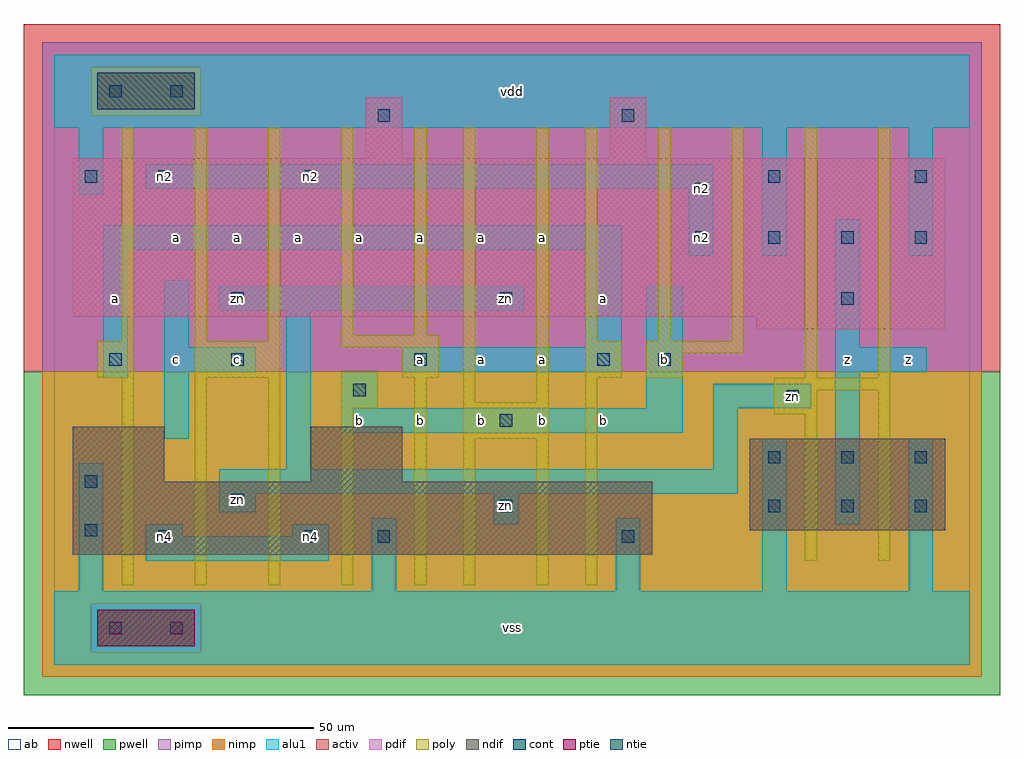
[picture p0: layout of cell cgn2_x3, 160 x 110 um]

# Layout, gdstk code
import gdstk
lib = gdstk.Library(unit=1e-6, precision=1e-09)
def R(c, l, rs):  # rectangles x0, y0, x1, y1
    for r in rs: c.add(gdstk.rectangle(r[:2], r[2:], *l))
def A(c, l, x, y, w, h, nx, ny, dx, dy):  # array of equal rectangles
    R(c, l, [(x+i*dx, y+j*dy, x+i*dx+w, y+j*dy+h) for i in range(nx) for j in range(ny)])
ndif = (3, 0)
pdif = (4, 0)
ntie = (5, 0)
ptie = (6, 0)
cont = (25, 0)
pwell = (41, 0)
nwell = (42, 0)
activ = (43, 0)
pimp = (44, 0)
nimp = (45, 0)
poly = (46, 0)
alu1 = (49, 0)
ab = (63, 0)

cgn2_x3 = lib.new_cell('cgn2_x3')
R(cgn2_x3, ndif, [(3,18,98,30), (114,22,146,37), (3,30,18,39), (42,30,57,39)])
R(cgn2_x3, pdif, [(115,55,146,57), (3,57,146,83), (51,83,57,93), (91,83,97,93)])
R(cgn2_x3, ntie, [(7,91,23,97)])
R(cgn2_x3, ptie, [(7,3,23,9)])
A(cgn2_x3, cont, 9, 5, 2, 2, 1, 3, 0, 44)
A(cgn2_x3, cont, 117, 25, 2, 2, 3, 2, 12, 8)
A(cgn2_x3, cont, 29, 49, 2, 2, 3, 1, 30, 0)
A(cgn2_x3, cont, 105, 69, 2, 2, 4, 1, 12, 0)
R(cgn2_x3, cont, [(19,5,21,7), (17,20,19,22), (41,20,43,22), (53,20,55,22), (93,20,95,22), (5,21,7,23), (73,25,75,27), (29,26,31,28), (5,29,7,31), (73,39,75,41), (120,43,122,45), (49,44,51,46), (99,49,101,51), (29,59,31,61), (73,59,75,61), (129,59,131,61), (105,77,107,79), (5,79,7,81), (17,79,19,81), (41,79,43,81), (117,79,119,81), (141,79,143,81), (53,89,55,91), (93,89,95,91), (19,93,21,95)])
R(cgn2_x3, pwell, [(-5,-5,155,48)])
R(cgn2_x3, nwell, [(-5,48,155,105)])
R(cgn2_x3, activ, [(7,3,23,9), (3,18,98,30), (114,22,146,37), (3,30,18,39), (42,30,57,39), (115,55,146,57), (3,57,146,83), (51,83,57,93), (91,83,97,93), (7,91,23,97)])
R(cgn2_x3, pimp, [(6,2,24,10), (-2,48,152,90), (-2,90,6,98), (24,90,152,98), (-2,98,152,102)])
R(cgn2_x3, nimp, [(-2,-2,152,2), (-2,2,6,10), (24,2,152,10), (-2,10,152,48), (6,90,24,98)])
A(cgn2_x3, poly, 11, 13, 2, 34, 3, 1, 12, 0)
A(cgn2_x3, poly, 11, 53, 2, 35, 3, 1, 12, 0)
A(cgn2_x3, poly, 87, 53, 2, 35, 3, 1, 12, 0)
R(cgn2_x3, poly, [(47,13,49,42), (59,13,61,47), (67,13,69,37), (79,13,81,37), (87,13,89,47), (123,17,125,41), (135,17,137,45), (67,37,81,43), (118,41,125,45), (47,42,53,48), (67,43,69,88), (79,43,81,88), (118,45,137,47), (7,47,13,53), (23,47,37,53), (57,47,63,52), (87,47,93,53), (97,47,103,51), (123,47,125,88), (135,47,137,88), (97,51,113,53), (47,52,63,54), (47,54,49,88), (59,54,61,88)])
R(cgn2_x3, alu1, [(0,0,150,12), (4,12,8,33), (52,12,56,24), (92,12,96,24), (116,12,120,37), (140,12,144,37), (15,17,45,21), (15,21,21,23), (39,21,45,23), (72,23,76,28), (128,23,132,48), (27,25,33,28), (27,28,112,32), (38,32,42,58), (108,32,112,42), (18,37,22,48), (47,38,103,42), (47,42,53,48), (97,42,103,62), (108,42,124,46), (8,47,12,68), (18,48,33,52), (57,48,93,52), (128,48,143,52), (18,52,22,63), (87,52,93,68), (128,52,132,73), (27,58,77,62), (104,67,108,78), (116,67,120,88), (140,67,144,88), (8,68,93,72), (4,77,8,88), (15,78,108,82), (0,88,150,100)])
R(cgn2_x3, ab, [(0,0,150,100)])
cgn2_x3.add(gdstk.Label('n4', (18,21), layer=49, texttype=0))
cgn2_x3.add(gdstk.Label('zn', (30,27), layer=49, texttype=0))
cgn2_x3.add(gdstk.Label('zn', (30,60), layer=49, texttype=0))
cgn2_x3.add(gdstk.Label('n2', (18,80), layer=49, texttype=0))
cgn2_x3.add(gdstk.Label('n4', (42,21), layer=49, texttype=0))
cgn2_x3.add(gdstk.Label('n2', (42,80), layer=49, texttype=0))
cgn2_x3.add(gdstk.Label('zn', (74,26), layer=49, texttype=0))
cgn2_x3.add(gdstk.Label('zn', (74,60), layer=49, texttype=0))
cgn2_x3.add(gdstk.Label('n2', (106,70), layer=49, texttype=0))
cgn2_x3.add(gdstk.Label('n2', (106,78), layer=49, texttype=0))
cgn2_x3.add(gdstk.Label('zn', (121,44), layer=49, texttype=0))
cgn2_x3.add(gdstk.Label('c', (20,50), layer=49, texttype=0))
cgn2_x3.add(gdstk.Label('a', (10,60), layer=49, texttype=0))
cgn2_x3.add(gdstk.Label('a', (20,70), layer=49, texttype=0))
cgn2_x3.add(gdstk.Label('b', (50,40), layer=49, texttype=0))
cgn2_x3.add(gdstk.Label('c', (30,50), layer=49, texttype=0))
cgn2_x3.add(gdstk.Label('a', (30,70), layer=49, texttype=0))
cgn2_x3.add(gdstk.Label('a', (50,70), layer=49, texttype=0))
cgn2_x3.add(gdstk.Label('a', (40,70), layer=49, texttype=0))
cgn2_x3.add(gdstk.Label('vss', (75,6), layer=49, texttype=0))
cgn2_x3.add(gdstk.Label('b', (80,40), layer=49, texttype=0))
cgn2_x3.add(gdstk.Label('b', (70,40), layer=49, texttype=0))
cgn2_x3.add(gdstk.Label('b', (60,40), layer=49, texttype=0))
cgn2_x3.add(gdstk.Label('a', (60,50), layer=49, texttype=0))
cgn2_x3.add(gdstk.Label('a', (80,50), layer=49, texttype=0))
cgn2_x3.add(gdstk.Label('a', (70,50), layer=49, texttype=0))
cgn2_x3.add(gdstk.Label('a', (60,70), layer=49, texttype=0))
cgn2_x3.add(gdstk.Label('a', (80,70), layer=49, texttype=0))
cgn2_x3.add(gdstk.Label('a', (70,70), layer=49, texttype=0))
cgn2_x3.add(gdstk.Label('vdd', (75,94), layer=49, texttype=0))
cgn2_x3.add(gdstk.Label('b', (90,40), layer=49, texttype=0))
cgn2_x3.add(gdstk.Label('b', (100,50), layer=49, texttype=0))
cgn2_x3.add(gdstk.Label('a', (90,60), layer=49, texttype=0))
cgn2_x3.add(gdstk.Label('z', (130,50), layer=49, texttype=0))
cgn2_x3.add(gdstk.Label('z', (140,50), layer=49, texttype=0))

lib.write_gds('cgn2_x3.gds')
